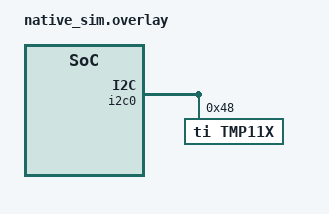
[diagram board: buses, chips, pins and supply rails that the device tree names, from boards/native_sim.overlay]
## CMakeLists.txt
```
# Copyright (c) 2025 Junseo Pyun
# SPDX-License-Identifier: Apache-2.0

cmake_minimum_required(VERSION 3.20.0)
find_package(Zephyr REQUIRED HINTS $ENV{ZEPHYR_BASE})

project(device)

target_sources(app PRIVATE src/main.c)
```

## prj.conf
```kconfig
# Copyright (c) 2026 Junseo Pyun
# SPDX-License-Identifier: Apache-2.0

CONFIG_ZTEST=y

CONFIG_SENSOR=y
CONFIG_EMUL=y
CONFIG_SPI=y
CONFIG_SPI_EMUL=y

CONFIG_I2C_LOG_LEVEL_WRN=y
CONFIG_SENSOR_LOG_LEVEL_WRN=y
```

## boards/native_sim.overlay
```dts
/* Copyright (c) 2026 Junseo Pyun
 * SPDX-License-Identifier: Apache-2.0
 */

&i2c0 {
	status = "okay";

	tmp11x: temp@48 {
		compatible = "ti,tmp11x";
		reg = <0x48>;
		status = "okay";
	};
};
```

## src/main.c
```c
/*
 * Copyright (c) 2026 Junseo Pyun
 *
 * SPDX-License-Identifier: Apache-2.0
 */

#include <zephyr/devicetree.h>
#include <zephyr/drivers/emul.h>
#include <zephyr/logging/log.h>
#include <zephyr/drivers/sensor.h>
#include <zephyr/ztest.h>

#include "tmp11x_emul.h"
#include "tmp11x.h"

struct tmp11x_fixture {
	const struct device *dev;
	const struct emul *target;
};

static void *tmp11x_setup(void)
{
	static struct tmp11x_fixture fixture = {
		.dev = DEVICE_DT_GET(DT_NODELABEL(tmp11x)),
		.target = EMUL_DT_GET(DT_NODELABEL(tmp11x)),
	};

	zassert_not_null(fixture.dev);
	zassert_not_null(fixture.target);

	return &fixture;
}

static void tmp11x_before(void *f)
{
	struct tmp11x_fixture *fixture = f;

	tmp11x_emul_write_reg(fixture->target, TMP11X_REG_TEMP, 0);
}

static void check_fetch_temp(const struct device *dev, const struct emul *target,
			     int16_t raw_temp)
{
	struct sensor_value val;
	double expected;
	
	/* raw 8000 -> 8000 / 128.0 = -256 degC */

	tmp11x_emul_write_reg(target, TMP11X_REG_TEMP, raw_temp);

	zassert_ok(sensor_sample_fetch(dev));
	zassert_ok(sensor_channel_get(dev, SENSOR_CHAN_AMBIENT_TEMP, &val));

	expected = raw_temp * 0.0078125;

	zassert_within(sensor_value_to_double(&val), expected, 0.01,
	"temperature mismatch: %d.%06d",
		       val.val1,
		       val.val2);
}

ZTEST_SUITE(tmp11x, NULL, tmp11x_setup, tmp11x_before, NULL, NULL);

ZTEST_F(tmp11x, test_device_ready)
{
	zassert_true(device_is_ready(fixture->dev), "TMP11x device not ready");
}

ZTEST_F(tmp11x, test_attr_set_sampling_frequency)
{
	struct sensor_value odr = {.val1 = 8, .val2 = 0};

	zassert_ok(sensor_attr_set(fixture->dev, SENSOR_CHAN_AMBIENT_TEMP,
			 SENSOR_ATTR_SAMPLING_FREQUENCY, &odr));
}

ZTEST_F(tmp11x, test_fetch_temp_positive)
{
	int16_t raw = (int16_t)0x0C80;

	check_fetch_temp(fixture->dev, fixture->target, raw);
}

ZTEST_F(tmp11x, test_fetch_temp_negative)
{
	int16_t raw = (int16_t)0xF600;

	check_fetch_temp(fixture->dev, fixture->target, raw);
}
```
